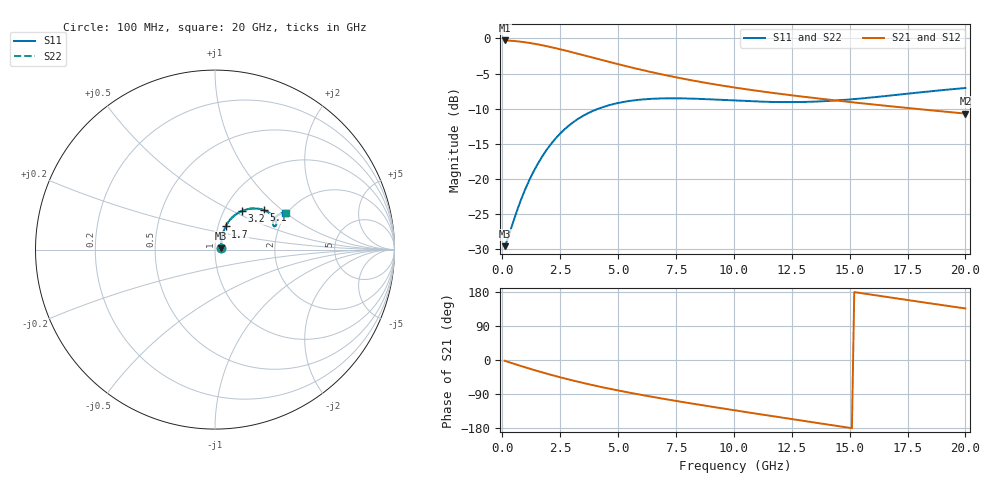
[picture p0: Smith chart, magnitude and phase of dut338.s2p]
! Touchstone file exported from HFSS 2024.1.0
!  File:  C:/UserFiles/LocalFiles/RDL_TSV_Batchsim/temp_RDL_TSV_338_1779633793.aedt
!  Generated:  10:58:41 PM May 24, 2026
!  Design:  RDL_TSV
!  Project:  temp_RDL_TSV_338_1779633793
!  Setup:  Setup1
!  Solution:  Sweep
! Variables:
!  dtsv = 10.3um
!  hbump = 3um
!  htsv = 72.22um
!  ldown = 504.58um
!  lrdl = 407.47um
!  p = 40
!  p1 = 53.81um
!  rhole = 10um
!  subl = 3143.62um
!  t = 450um
!  tdown = 4.36um
!  trdl = 2.27um
!  viad = 10um
!  wdown = 15.28um
!  wrdl = 10.23um
!  xbump = 18um
# GHz S MA R 50.000000
! Terminal data exported
! Port[1] = TM1_1_T1
! Port[2] = TM1_4_T1
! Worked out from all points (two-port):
!   200 points, 100 MHz to 20 GHz, reference 50 ohm
!   highest |S21| = -0.29 dB at 100 MHz (marker M1); lowest = -10.7 dB at 20 GHz (marker M2)
!   |S21| within 3 dB of the highest: start of sweep to 4.549 GHz
!   lowest |S11| = -29.6 dB at 100 MHz (marker M3), VSWR 1.07, Z = 53.3 + j0.82 ohm
!   |S11| at or under -10 dB: start of sweep to 4.163 GHz
!   |S22| runs from -29.6 to -7.1 dB; largest |S21 - S12| = 1.1e-13
!   S11 on the Smith chart (normalised r, x): 100 MHz: 1.07, +0.02; 1.7 GHz: 1.09, +0.29; 3.2 GHz: 1.21, +0.56; 5.1 GHz: 1.52, +0.76; 20 GHz: 1.95, +1.00
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0.1  0.03305 13.4  0.9676 -2.0  0.9676 -2.0  0.03305 13.4
! Gamma 0 0 0 0
! Port Impedance 50 0 50 0
0.2  0.03599 25.0  0.9664 -4.0  0.9664 -4.0  0.03599 25.0
0.5  0.05085 47.0  0.9593 -10.0  0.9593 -10.0  0.05085 47.0
1  0.08471 61.6  0.9386 -19.5  0.9386 -19.5  0.0847 61.7
1.3  0.1084 64.7  0.9221 -25.1  0.9221 -25.1  0.1084 64.8
1.7  0.1421 65.5  0.8963 -32.2  0.8963 -32.2  0.1421 65.5
2  0.168 64.5  0.875 -37.4  0.875 -37.4  0.1681 64.5
2.4  0.2019 62.0  0.845 -44.0  0.845 -44.0  0.202 62.0
3.2  0.2622 55.1  0.7831 -56.4  0.7831 -56.4  0.2624 55.2
3.5  0.2814 52.4  0.7602 -60.7  0.7602 -60.7  0.2816 52.4
4.2  0.3179 46.1  0.709 -70.3  0.709 -70.3  0.3182 46.2
5.1  0.3493 39.0  0.6494 -81.6  0.6494 -81.6  0.3497 39.0
5.9  0.3653 33.7  0.6032 -90.9  0.6032 -90.9  0.3658 33.8
6.8  0.3733 29.0  0.5584 -100.7  0.5584 -100.7  0.3739 29.0
8.4  0.3715 23.5  0.4951 -117.0  0.4951 -117.0  0.3722 23.5
10.1  0.3605 21.3  0.445 -133.4  0.445 -133.4  0.3613 21.3
11.7  0.3525 22.0  0.4086 -148.5  0.4086 -148.5  0.3533 22.0
13.4  0.3541 24.4  0.3774 -164.2  0.3774 -164.2  0.3549 24.4
15  0.3672 26.9  0.3525 -179.0  0.3525 -179.0  0.3681 26.9
16.7  0.3908 28.5  0.3293 165.5  0.3293 165.5  0.3916 28.5
18.4  0.4185 28.6  0.3087 150.2  0.3087 150.2  0.4192 28.6
20  0.4433 27.6  0.2915 136.0  0.2915 136.0  0.4439 27.6
